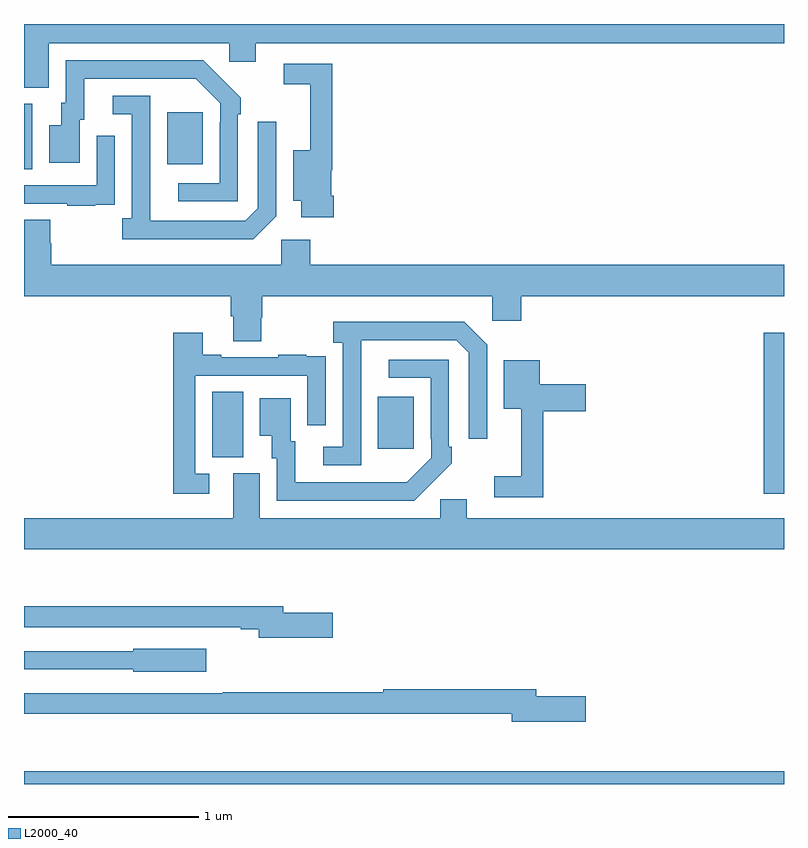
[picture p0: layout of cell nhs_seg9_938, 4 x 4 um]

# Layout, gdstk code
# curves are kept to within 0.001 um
import gdstk
lib = gdstk.Library(unit=1e-6, precision=1e-09)
def R(c, l, rs):  # rectangles x0, y0, x1, y1
    for r in rs: c.add(gdstk.rectangle(r[:2], r[2:], *l))
def P(c, l, *ps):  # polygons
    for p in ps: c.add(gdstk.Polygon(p, *l))
L2000_40 = (2000, 40)

nhs_seg9_938 = lib.new_cell('nhs_seg9_938')
R(nhs_seg9_938, L2000_40, [(161,1212.5,165,1212.568), (164.893,1214.028,165,1214.875), (161.99,1214.221,162.154,1214.564), (162.863,1214.265,163.051,1214.539), (161,1215.736,161.044,1216.08), (161.753,1215.761,161.941,1216.036)])
P(nhs_seg9_938, L2000_40, [(161.131,1216.4),(162.081,1216.4),(162.081,1216.302),(162.22,1216.302),(162.22,1216.4),(165,1216.4),(165,1216.5),(161,1216.5),(161,1216.165),(161.131,1216.165)],
  [(162.126,1216.025),(162.141,1216.025),(162.141,1216.113),(161.944,1216.308),(161.22,1216.308),(161.22,1216.086),(161.195,1216.086),(161.195,1215.967),(161.132,1215.967),(161.132,1215.771),(161.293,1215.771),(161.293,1215.996),(161.317,1215.996),(161.317,1216.212),(161.905,1216.212),(162.033,1216.083),(162.033,1215.983),(162.03,1215.983),(162.03,1215.663),(161.811,1215.663),(161.811,1215.567),(162.126,1215.567)],
  [(162.629,1215.595),(162.616,1215.595),(162.616,1215.731),(162.623,1215.731),(162.623,1216.29),(162.366,1216.29),(162.366,1216.182),(162.506,1216.182),(162.506,1215.835),(162.416,1215.835),(162.416,1215.569),(162.458,1215.569),(162.458,1215.483),(162.629,1215.483)],
  [(162.327,1215.489),(162.327,1215.985),(162.231,1215.985),(162.231,1215.531),(162.165,1215.465),(161.665,1215.465),(161.664,1216.122),(161.466,1216.122),(161.466,1216.026),(161.568,1216.026),(161.568,1215.478),(161.517,1215.478),(161.517,1215.368),(162.206,1215.368)],
  [(161.375,1215.549),(161.477,1215.549),(161.477,1215.658),(161.478,1215.658),(161.478,1215.913),(161.382,1215.913),(161.382,1215.651),(161,1215.651),(161,1215.555),(161.227,1215.555),(161.227,1215.543),(161.375,1215.543)],
  [(161.144,1215.345),(161.139,1215.345),(161.139,1215.47),(161,1215.47),(161,1215.068),(162.089,1215.068),(162.089,1214.962),(162.101,1214.962),(162.101,1214.83),(162.249,1214.83),(162.249,1214.955),(162.254,1214.955),(162.254,1215.068),(163.464,1215.068),(163.464,1214.937),(163.616,1214.937),(163.616,1215.068),(165,1215.068),(165,1215.232),(162.506,1215.232),(162.506,1215.364),(162.354,1215.364),(162.354,1215.232),(161.144,1215.232)],
  [(162.774,1214.635),(162.775,1214.835),(163.275,1214.835),(163.341,1214.769),(163.341,1214.316),(163.437,1214.316),(163.437,1214.811),(163.316,1214.932),(162.627,1214.932),(162.627,1214.822),(162.678,1214.822),(162.678,1214.274),(162.576,1214.274),(162.576,1214.178),(162.774,1214.178)],
  [(161.974,1214.133),(161.901,1214.133),(161.901,1214.649),(162.492,1214.649),(162.492,1214.388),(162.588,1214.388),(162.588,1214.642),(162.587,1214.642),(162.587,1214.751),(162.485,1214.751),(162.485,1214.758),(162.337,1214.758),(162.337,1214.745),(162.037,1214.745),(162.037,1214.758),(161.941,1214.758),(161.941,1214.875),(161.785,1214.875),(161.785,1214.028),(161.974,1214.028)],
  [(163.145,1214.083),(163.146,1214.082),(163.251,1214.187),(163.251,1214.275),(163.236,1214.275),(163.236,1214.733),(162.921,1214.733),(162.921,1214.637),(163.14,1214.637),(163.14,1214.317),(163.143,1214.317),(163.143,1214.217),(163.015,1214.089),(162.427,1214.088),(162.427,1214.304),(162.403,1214.304),(162.403,1214.53),(162.242,1214.53),(162.242,1214.333),(162.305,1214.333),(162.305,1214.214),(162.33,1214.214),(162.33,1213.992),(163.054,1213.992)],
  [(163.733,1214.462),(163.957,1214.462),(163.957,1214.604),(163.714,1214.604),(163.714,1214.731),(163.526,1214.731),(163.526,1214.474),(163.616,1214.474),(163.616,1214.119),(163.476,1214.119),(163.476,1214.01),(163.733,1214.01)],
  [(165,1213.9),(163.33,1213.9),(163.33,1213.998),(163.191,1213.998),(163.191,1213.9),(162.241,1213.9),(162.241,1214.136),(162.101,1214.136),(162.101,1213.9),(161,1213.9),(161,1213.736),(165,1213.736)],
  [(162.625,1213.401),(162.364,1213.401),(162.364,1213.435),(161,1213.435),(161,1213.326),(162.14,1213.326),(162.14,1213.314),(162.236,1213.314),(162.236,1213.271),(162.625,1213.271)],
  [(161.959,1213.213),(161.574,1213.213),(161.574,1213.2),(161,1213.2),(161,1213.104),(161.574,1213.104),(161.574,1213.091),(161.959,1213.091)],
  [(163.957,1212.962),(163.696,1212.962),(163.696,1212.998),(162.892,1212.998),(162.892,1212.983),(162.046,1212.983),(162.046,1212.978),(161,1212.978),(161,1212.87),(163.568,1212.87),(163.568,1212.827),(163.957,1212.827)])

lib.write_gds('nhs_seg9_938.gds')
